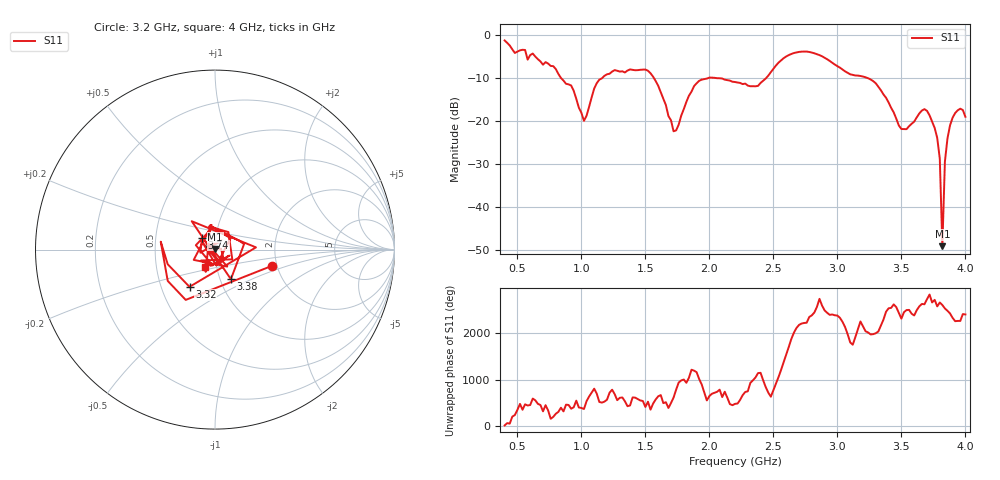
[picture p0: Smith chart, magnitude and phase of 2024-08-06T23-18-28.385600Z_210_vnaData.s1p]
!Created with skrf (http://scikit-rf.org).
# Hz S RI R 50.0
!freq ReS11 ImS11
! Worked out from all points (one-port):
!   181 points, 400 MHz to 4 GHz, reference 50 ohm
!   lowest |S11| = -49.2 dB at 3.82 GHz (marker M1), VSWR 1.01, Z = 50 + j0.345 ohm
!   |S11| at or under -10 dB: 1.567 GHz to 1.987 GHz (420.2 MHz wide, 23.6 % of centre); 2.065 GHz to 2.442 GHz (377.4 MHz wide, 16.7 % of centre); 3.239 GHz to end of sweep (the widest 3 of 4)
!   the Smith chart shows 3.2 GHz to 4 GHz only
!   S11 on the Smith chart (normalised r, x): 3.2 GHz: 1.88, -0.38; 3.32 GHz: 0.70, -0.31; 3.38 GHz: 1.12, -0.38; 3.74 GHz: 0.86, +0.12; 4 GHz: 0.88, -0.17
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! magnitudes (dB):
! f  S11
! 400 MHz  -1.2
! 860 MHz  -10.6
! 920 MHz  -11.7
! 1.02 GHz  -19.9
! 1.12 GHz  -11.2
! 1.3 GHz  -8.4
! 1.52 GHz  -8.3
! 1.6 GHz  -11.8
! 1.72 GHz  -22.4
! 1.76 GHz  -20.8
! 1.92 GHz  -10.6
! 2.2 GHz  -10.9
! 2.38 GHz  -11.8
! 2.66 GHz  -4.1
! 3.1 GHz  -9.1
! 3.2 GHz  -9.6
! 3.32 GHz  -12.0
! 3.38 GHz  -14.6
! 3.5 GHz  -21.8
! 3.56 GHz  -21.2
! 3.68 GHz  -17.2
! 3.74 GHz  -20.1
! 3.8 GHz  -28.8
! 3.82 GHz  -49.2
! 3.84 GHz  -29.4
! 3.86 GHz  -24.0
! 3.92 GHz  -18.1
! 4 GHz  -19.0
